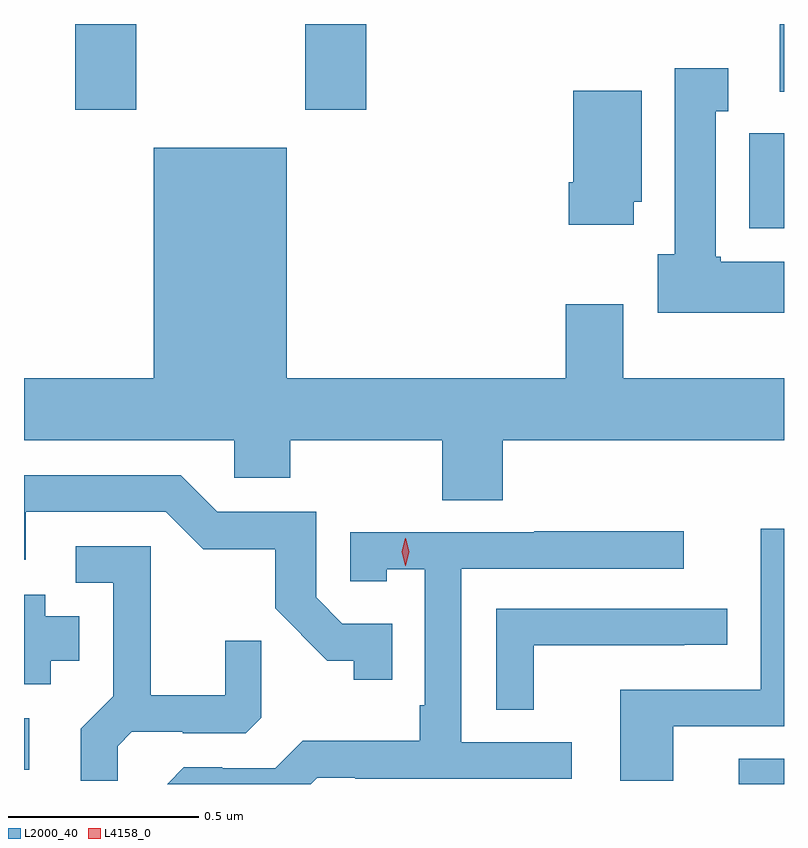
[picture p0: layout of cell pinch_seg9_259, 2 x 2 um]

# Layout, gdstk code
import gdstk
lib = gdstk.Library(unit=1e-6, precision=1e-09)
def R(c, l, rs):  # rectangles x0, y0, x1, y1
    for r in rs: c.add(gdstk.rectangle(r[:2], r[2:], *l))
def P(c, l, *ps):  # polygons
    for p in ps: c.add(gdstk.Polygon(p, *l))
L2000_40 = (2000, 40)
L4158_0 = (4158, 0)

pinch_seg9_259 = lib.new_cell('pinch_seg9_259')
R(pinch_seg9_259, L2000_40, [(497.447,1239.472,497.566,1239.539), (495.566,1239.509,495.58,1239.645), (497.475,1240.934,497.566,1241.184), (495.701,1241.247,495.861,1241.472), (496.306,1241.247,496.466,1241.472), (497.555,1241.294,497.566,1241.472)])
P(pinch_seg9_259, L2000_40, [(497.566,1240.846),(497.4,1240.846),(497.4,1240.86),(497.386,1240.86),(497.386,1241.243),(497.419,1241.243),(497.419,1241.356),(497.279,1241.356),(497.279,1240.866),(497.234,1240.866),(497.234,1240.712),(497.566,1240.712)],
  [(497.17,1241.004),(497.191,1241.004),(497.191,1241.296),(497.012,1241.296),(497.012,1241.056),(497,1241.056),(497,1240.944),(497.17,1240.944)],
  [(496.826,1240.376),(497.566,1240.376),(497.566,1240.54),(497.143,1240.54),(497.143,1240.735),(496.991,1240.735),(496.991,1240.54),(496.258,1240.54),(496.258,1241.146),(495.908,1241.146),(495.908,1240.54),(495.566,1240.54),(495.566,1240.376),(496.119,1240.376),(496.119,1240.278),(496.266,1240.278),(496.266,1240.376),(496.666,1240.376),(496.666,1240.219),(496.826,1240.219)],
  [(496.535,1239.894),(496.404,1239.894),(496.335,1239.963),(496.335,1240.188),(496.074,1240.188),(495.978,1240.284),(495.566,1240.284),(495.566,1240.062),(495.571,1240.062),(495.571,1240.188),(495.939,1240.188),(496.038,1240.09),(496.227,1240.09),(496.227,1239.934),(496.364,1239.797),(496.434,1239.797),(496.434,1239.747),(496.535,1239.747)],
  [(497.275,1239.624),(497.566,1239.624),(497.566,1240.144),(497.505,1240.144),(497.505,1239.72),(497.135,1239.72),(497.135,1239.481),(497.275,1239.481)],
  [(496.338,1239.489),(496.438,1239.489),(496.438,1239.486),(497.008,1239.486),(497.008,1239.582),(496.716,1239.582),(496.716,1240.038),(497.302,1240.038),(497.302,1240.137),(496.909,1240.137),(496.909,1240.134),(496.425,1240.134),(496.425,1240.005),(496.521,1240.005),(496.521,1240.037),(496.62,1240.037),(496.62,1239.679),(496.608,1239.679),(496.608,1239.586),(496.3,1239.586),(496.227,1239.513),(496.088,1239.513),(496.088,1239.516),(495.987,1239.516),(495.943,1239.472),(496.321,1239.472)],
  [(495.813,1239.572),(495.85,1239.609),(495.984,1239.609),(495.984,1239.606),(496.149,1239.606),(496.19,1239.647),(496.19,1239.849),(496.096,1239.849),(496.096,1239.706),(495.899,1239.706),(495.899,1240.098),(495.702,1240.098),(495.702,1240.002),(495.801,1240.002),(495.801,1239.703),(495.715,1239.617),(495.715,1239.481),(495.813,1239.481)],
  [(495.637,1239.797),(495.712,1239.797),(495.712,1239.913),(495.622,1239.913),(495.622,1239.97),(495.566,1239.97),(495.566,1239.734),(495.637,1239.734)],
  [(496.908,1239.837),(497.303,1239.837),(497.303,1239.838),(497.416,1239.838),(497.416,1239.933),(496.809,1239.933),(496.809,1239.667),(496.908,1239.667)])
P(pinch_seg9_259, L4158_0, [(496.57,1240.046),(496.569,1240.047),(496.56,1240.083),(496.569,1240.119),(496.57,1240.119),(496.57,1240.119),(496.58,1240.083),(496.57,1240.047)])

lib.write_gds('pinch_seg9_259.gds')
